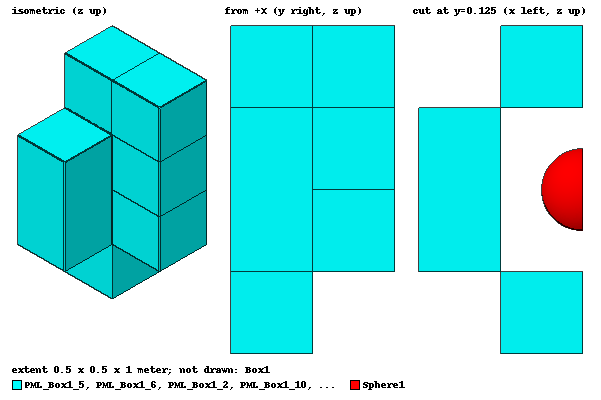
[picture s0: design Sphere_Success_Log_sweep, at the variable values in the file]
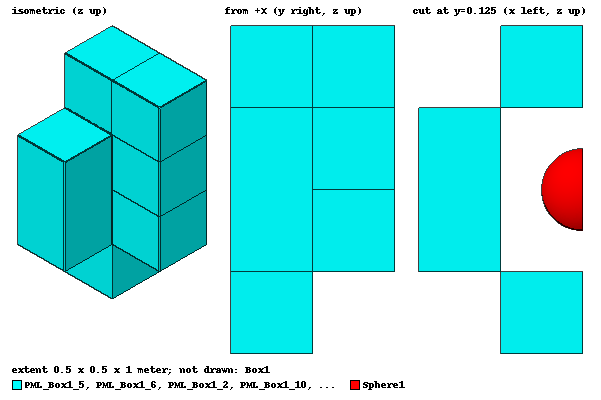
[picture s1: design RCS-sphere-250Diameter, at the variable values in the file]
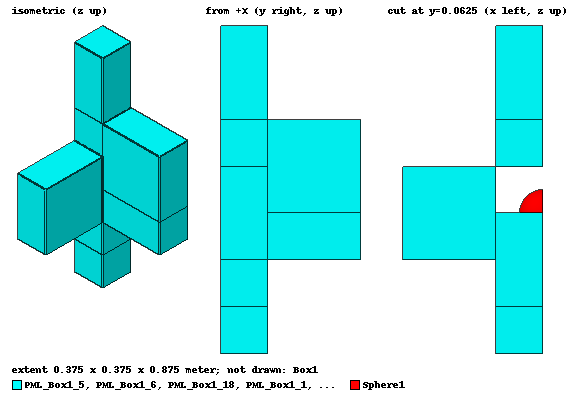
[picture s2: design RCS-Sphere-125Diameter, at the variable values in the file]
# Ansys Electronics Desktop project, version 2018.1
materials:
  vacuum: permittivity=1
  copper: permeability=0.999991 conductivity=58000000
  PMLGroup1_Z_1: permittivity{anisotropic component1=1.1 component2=1.1 component3=0.45454545} permeability{anisotropic component1=1.1 component2=1.1 component3=0.45454545} dielectric_loss_tangent{anisotropic component1=1 component2=1 component3=-1} magnetic_loss_tangent{anisotropic component1=1 component2=1 component3=-1}
  PMLGroup1_XZ_1: permittivity{anisotropic component1=1 component2=0.01 component3=1} permeability{anisotropic component1=1 component2=0.01 component3=1} dielectric_loss_tangent{anisotropic component1=0 component2=242 component3=0} magnetic_loss_tangent{anisotropic component1=0 component2=242 component3=0}
  PMLGroup1_YZ_1: permittivity{anisotropic component1=0.01 component2=1 component3=1} permeability{anisotropic component1=0.01 component2=1 component3=1} dielectric_loss_tangent{anisotropic component1=242 component2=0 component3=0} magnetic_loss_tangent{anisotropic component1=242 component2=0 component3=0}
  PMLGroup1_XYZ_1: permittivity{anisotropic component1=1.1 component2=1.1 component3=1.1} permeability{anisotropic component1=1.1 component2=1.1 component3=1.1} dielectric_loss_tangent{anisotropic component1=1 component2=1 component3=1} magnetic_loss_tangent{anisotropic component1=1 component2=1 component3=1}
  PMLGroup2_Z_1: permittivity{anisotropic component1=1.1 component2=1.1 component3=0.45454545} permeability{anisotropic component1=1.1 component2=1.1 component3=0.45454545} dielectric_loss_tangent{anisotropic component1=1 component2=1 component3=-1} magnetic_loss_tangent{anisotropic component1=1 component2=1 component3=-1}
  PMLGroup2_XZ_1: permittivity{anisotropic component1=1 component2=0.01 component3=1} permeability{anisotropic component1=1 component2=0.01 component3=1} dielectric_loss_tangent{anisotropic component1=0 component2=242 component3=0} magnetic_loss_tangent{anisotropic component1=0 component2=242 component3=0}
  PMLGroup2_YZ_1: permittivity{anisotropic component1=0.01 component2=1 component3=1} permeability{anisotropic component1=0.01 component2=1 component3=1} dielectric_loss_tangent{anisotropic component1=242 component2=0 component3=0} magnetic_loss_tangent{anisotropic component1=242 component2=0 component3=0}
  PMLGroup2_XYZ_1: permittivity{anisotropic component1=1.1 component2=1.1 component3=1.1} permeability{anisotropic component1=1.1 component2=1.1 component3=1.1} dielectric_loss_tangent{anisotropic component1=1 component2=1 component3=1} magnetic_loss_tangent{anisotropic component1=1 component2=1 component3=1}
  PMLGroup3_Z_1: permittivity{anisotropic component1=1.1 component2=1.1 component3=0.45454545} permeability{anisotropic component1=1.1 component2=1.1 component3=0.45454545} dielectric_loss_tangent{anisotropic component1=1 component2=1 component3=-1} magnetic_loss_tangent{anisotropic component1=1 component2=1 component3=-1}
  PMLGroup3_XZ_1: permittivity{anisotropic component1=1 component2=0.01 component3=1} permeability{anisotropic component1=1 component2=0.01 component3=1} dielectric_loss_tangent{anisotropic component1=0 component2=242 component3=0} magnetic_loss_tangent{anisotropic component1=0 component2=242 component3=0}
  PMLGroup3_YZ_1: permittivity{anisotropic component1=0.01 component2=1 component3=1} permeability{anisotropic component1=0.01 component2=1 component3=1} dielectric_loss_tangent{anisotropic component1=242 component2=0 component3=0} magnetic_loss_tangent{anisotropic component1=242 component2=0 component3=0}
  PMLGroup3_XYZ_1: permittivity{anisotropic component1=1.1 component2=1.1 component3=1.1} permeability{anisotropic component1=1.1 component2=1.1 component3=1.1} dielectric_loss_tangent{anisotropic component1=1 component2=1 component3=1} magnetic_loss_tangent{anisotropic component1=1 component2=1 component3=1}
  PMLGroup3_Z_2: permittivity{anisotropic component1=1.1 component2=1.1 component3=0.45454545} permeability{anisotropic component1=1.1 component2=1.1 component3=0.45454545} dielectric_loss_tangent{anisotropic component1=1 component2=1 component3=-1} magnetic_loss_tangent{anisotropic component1=1 component2=1 component3=-1}
  PMLGroup3_XZ_2: permittivity{anisotropic component1=1 component2=0.01 component3=1} permeability{anisotropic component1=1 component2=0.01 component3=1} dielectric_loss_tangent{anisotropic component1=0 component2=242 component3=0} magnetic_loss_tangent{anisotropic component1=0 component2=242 component3=0}
  PMLGroup3_YZ_2: permittivity{anisotropic component1=0.01 component2=1 component3=1} permeability{anisotropic component1=0.01 component2=1 component3=1} dielectric_loss_tangent{anisotropic component1=242 component2=0 component3=0} magnetic_loss_tangent{anisotropic component1=242 component2=0 component3=0}
  PMLGroup3_XYZ_2: permittivity{anisotropic component1=1.1 component2=1.1 component3=1.1} permeability{anisotropic component1=1.1 component2=1.1 component3=1.1} dielectric_loss_tangent{anisotropic component1=1 component2=1 component3=1} magnetic_loss_tangent{anisotropic component1=1 component2=1 component3=1}
  PMLGroup3_Z_3: permittivity{anisotropic component1=1.1 component2=1.1 component3=0.45454545} permeability{anisotropic component1=1.1 component2=1.1 component3=0.45454545} dielectric_loss_tangent{anisotropic component1=1 component2=1 component3=-1} magnetic_loss_tangent{anisotropic component1=1 component2=1 component3=-1}
  PMLGroup3_XZ_3: permittivity{anisotropic component1=1 component2=0.01 component3=1} permeability{anisotropic component1=1 component2=0.01 component3=1} dielectric_loss_tangent{anisotropic component1=0 component2=242 component3=0} magnetic_loss_tangent{anisotropic component1=0 component2=242 component3=0}
  PMLGroup3_YZ_3: permittivity{anisotropic component1=0.01 component2=1 component3=1} permeability{anisotropic component1=0.01 component2=1 component3=1} dielectric_loss_tangent{anisotropic component1=242 component2=0 component3=0} magnetic_loss_tangent{anisotropic component1=242 component2=0 component3=0}
  PMLGroup3_XYZ_3: permittivity{anisotropic component1=1.1 component2=1.1 component3=1.1} permeability{anisotropic component1=1.1 component2=1.1 component3=1.1} dielectric_loss_tangent{anisotropic component1=1 component2=1 component3=1} magnetic_loss_tangent{anisotropic component1=1 component2=1 component3=1}

design Sphere_Success_Log_sweep (HFSS, DrivenModal, model units meter)
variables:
  Rad = 0.125meter
  a = 0.125meter
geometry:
  Sphere1 [copper] = sphere(centre=(0meter, 0meter, 0meter), radius=a)
  Box1 [vacuum] = box(corner=(-2*a, -2*a, -2*a), size=(4*a, 4*a, 4*a))
  coordinate_system FaceCS1 = face of Box1: Origin=Box1.vertex(1 of 8) FaceID=Box1.face(+z) AxisPosn=Box1.vertex(2 of 8) WhichAxis=X
  PML_Box1_1 [PMLGroup3_Z_1, oriented by FaceCS1] = sweep_along_normal(Box1.face(+z), length=0.25meter)
  coordinate_system FaceCS2 = face of Box1: Origin=Box1.vertex(5 of 8) FaceID=Box1.face(-z) AxisPosn=Box1.vertex(6 of 8) WhichAxis=X
  PML_Box1_2 [PMLGroup3_Z_1, oriented by FaceCS2] = sweep_along_normal(Box1.face(-z), length=0.25meter)
  coordinate_system FaceCS3 = face of Box1: Origin=Box1.vertex(4 of 8) FaceID=Box1.face(-y) AxisPosn=Box1.vertex(7 of 8) WhichAxis=X
  coordinate_system FaceCS4 = face of Box1: Origin=Box1.vertex(3 of 8) FaceID=Box1.face(-x) AxisPosn=Box1.vertex(8 of 8) WhichAxis=X
  coordinate_system FaceCS5 = face of Box1: Origin=Box1.vertex(2 of 8) FaceID=Box1.face(+y) AxisPosn=Box1.vertex(5 of 8) WhichAxis=X
  PML_Box1_5 [PMLGroup3_Z_1, oriented by FaceCS5] = sweep_along_normal(Box1.face(+y), length=0.25meter)
  coordinate_system FaceCS6 = face of Box1: Origin=Box1.vertex(1 of 8) FaceID=Box1.face(+x) AxisPosn=Box1.vertex(6 of 8) WhichAxis=X
  PML_Box1_6 [PMLGroup3_Z_1, oriented by FaceCS6] = sweep_along_normal(Box1.face(+x), length=0.25meter)
  PML_Box1_9 [PMLGroup3_XZ_1, oriented by FaceCS5] = sweep_along_normal(PML_Box1_1.face(at (0, 0.25, 0.375)), length=0.25meter)
  PML_Box1_10 [PMLGroup3_YZ_1, oriented by FaceCS1] = sweep_along_normal(PML_Box1_1.face(at (0.25, 0, 0.375)), length=0.25meter)
  coordinate_system FaceCS7 = face of Box1: Origin=Box1.vertex(6 of 8) FaceID=Box1.face(-z) AxisPosn=Box1.vertex(7 of 8) WhichAxis=X
  coordinate_system FaceCS8 = face of Box1: Origin=Box1.vertex(7 of 8) FaceID=Box1.face(-z) AxisPosn=Box1.vertex(8 of 8) WhichAxis=X
  PML_Box1_13 [PMLGroup3_XZ_1, oriented by FaceCS2] = sweep_along_normal(PML_Box1_2.face(at (0, 0.25, -0.375)), length=0.25meter)
  PML_Box1_14 [PMLGroup3_YZ_1, oriented by FaceCS2] = sweep_along_normal(PML_Box1_2.face(at (0.25, 0, -0.375)), length=0.25meter)
  PML_Box1_18 [PMLGroup3_YZ_1, oriented by FaceCS5] = sweep_along_normal(PML_Box1_5.face(at (0.25, 0.375, 0)), length=0.25meter)
  PML_Box1_22 [PMLGroup3_XYZ_1, oriented by FaceCS5] = sweep_along_normal(PML_Box1_9.face(at (0.25, 0.375, 0.375)), length=0.25meter)
  coordinate_system FaceCS9 = face of Box1: Origin=Box1.vertex(8 of 8) FaceID=Box1.face(-z) AxisPosn=Box1.vertex(5 of 8) WhichAxis=X
  PML_Box1_26 [PMLGroup3_XYZ_1, oriented by FaceCS2] = sweep_along_normal(PML_Box1_13.face(at (0.25, 0.375, -0.375)), length=0.25meter)
  [Sphere1, PML_Box1_22, PML_Box1_26, PML_Box1_9, PML_Box1_13, PML_Box1_10, PML_Box1_14, PML_Box1_18, PML_Box1_1, PML_Box1_2, PML_Box1_5, PML_Box1_6, Box1].split(plane=YZ, keep=PositiveOnly)
  [Sphere1, PML_Box1_22, PML_Box1_26, PML_Box1_9, PML_Box1_13, PML_Box1_10, PML_Box1_14, PML_Box1_18, PML_Box1_1, PML_Box1_2, PML_Box1_5, PML_Box1_6, Box1].split(plane=ZX, keep=PositiveOnly)
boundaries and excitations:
  PML_radiation1: Radiation Faces=Box1.face(+z) IsForPML
  PML_radiation2: Radiation Faces=Box1.face(-z) IsForPML
  PML_radiation5: Radiation Faces=Box1.face(+y) IsForPML
  PML_radiation6: Radiation Faces=Box1.face(+x) IsForPML
  PML_radiation7: Radiation Faces=Box1.face(+z) IsForPML
  PML_radiation8: Radiation Faces=Box1.face(-z) IsForPML
  PML_radiation11: Radiation Faces=Box1.face(+y) IsForPML
  PML_radiation12: Radiation Faces=Box1.face(+x) IsForPML
  Sym1: Symmetry Faces=PML_Box1_1.face(at (0, 0, 0.375)) PML_Box1_9.face(at (0, 0.375, 0.375)) Box1.face(at (0, 0, 0)) PML_Box1_5.face(at (0, 0.375, 0)) PML_Box1_2.face(at (0, 0, -0.375)) PML_Box1_13.face(at (0, 0.375, -0.375)) IsPerfectE=true
  Sym2: Symmetry Faces=PML_Box1_10.face(at (0.375, 0, 0.375)) PML_Box1_6.face(at (0.375, 0, 0)) PML_Box1_1.face(at (0.125, 0, 0.375)) Box1.face(at (0.125, 0, 0)) PML_Box1_14.face(at (0.375, 0, -0.375)) PML_Box1_2.face(at (0.125, 0, -0.375)) IsPerfectE=false
  IncPWave1: Plane Incident Wave PhiStart=0deg PhiStop=0deg PhiPoints=1 ThetaStart=0deg ThetaStop=0deg ThetaPoints=1 EoPhi=0 EoTheta=1 OriginX=0mm OriginY=0mm OriginZ=0mm IsPropagating
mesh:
  initial mesh: GlobalCurvilinear{Apply}
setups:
  Setup1: HfssDriven Frequency=5GHz MaxDeltaE=0.01 MaximumPasses=20 MinimumPasses=1 MinimumConvergedPasses=1 PercentRefinement=30 BasisOrder=2
    sweep 2to4GHz: 2GHz to 4GHz, log, 100 per decade; disabled Type=Discrete SaveFields SaveRadFields
    sweep 4to8GHz: 4GHz to 8GHz, log, 200 per decade; disabled Type=Discrete SaveFields SaveRadFields
    sweep 8to10GHz: 8GHz to 10GHz, log, 100 per decade; Type=Discrete SaveFields SaveRadFields
    sweep 10to12GHz: 10GHz to 12GHz, log, 200 per decade; Type=Discrete SaveFields SaveRadFields
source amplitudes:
  IncPWave1:1: 1 0deg
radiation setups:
  Infinite Sphere1: Infinite Sphere Theta=0deg..0deg step 2deg Phi=0deg..0deg step 0deg
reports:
  Bistatic RCS Plot 1: abs(RCSTotal) vs Freq on Setup1 : 2to4GHz, Infinite Sphere1 [Phi=all Theta=all IWavePhi=0deg IWaveTheta=0deg]
  Bistatic RCS Plot 2: abs(RCSTotal) vs Freq on Setup1 : 4to8GHz, Infinite Sphere1 [Phi=all Theta=all IWavePhi=0deg IWaveTheta=0deg]; abs(RCSTotal) vs Freq on Setup1 : 10to12GHz, Infinite Sphere1 [Phi=all Theta=all IWavePhi=0deg IWaveTheta=0deg]; abs(RCSTotal) vs Freq on Setup1 : 8to10GHz, Infinite Sphere1 [Phi=all Theta=all IWavePhi=0deg IWaveTheta=0deg]; abs(RCSTotal) vs Freq on Setup1 : 2to4GHz, Infinite Sphere1 [Phi=all Theta=all IWavePhi=0deg IWaveTheta=0deg]

design RCS-sphere-250Diameter (HFSS, DrivenModal, model units meter)
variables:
  Rad = 0.125meter
  a = 0.125meter
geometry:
  Sphere1 [copper] = sphere(centre=(0meter, 0meter, 0meter), radius=a)
  Box1 [vacuum] = box(corner=(-2*a, -2*a, -2*a), size=(4*a, 4*a, 4*a))
  coordinate_system FaceCS1 = face of Box1: Origin=Box1.vertex(1 of 8) FaceID=Box1.face(+z) AxisPosn=Box1.vertex(2 of 8) WhichAxis=X
  PML_Box1_1 [PMLGroup3_Z_2, oriented by FaceCS1] = sweep_along_normal(Box1.face(+z), length=0.25meter)
  coordinate_system FaceCS2 = face of Box1: Origin=Box1.vertex(5 of 8) FaceID=Box1.face(-z) AxisPosn=Box1.vertex(6 of 8) WhichAxis=X
  PML_Box1_2 [PMLGroup3_Z_2, oriented by FaceCS2] = sweep_along_normal(Box1.face(-z), length=0.25meter)
  coordinate_system FaceCS3 = face of Box1: Origin=Box1.vertex(4 of 8) FaceID=Box1.face(-y) AxisPosn=Box1.vertex(7 of 8) WhichAxis=X
  coordinate_system FaceCS4 = face of Box1: Origin=Box1.vertex(3 of 8) FaceID=Box1.face(-x) AxisPosn=Box1.vertex(8 of 8) WhichAxis=X
  coordinate_system FaceCS5 = face of Box1: Origin=Box1.vertex(2 of 8) FaceID=Box1.face(+y) AxisPosn=Box1.vertex(5 of 8) WhichAxis=X
  PML_Box1_5 [PMLGroup3_Z_2, oriented by FaceCS5] = sweep_along_normal(Box1.face(+y), length=0.25meter)
  coordinate_system FaceCS6 = face of Box1: Origin=Box1.vertex(1 of 8) FaceID=Box1.face(+x) AxisPosn=Box1.vertex(6 of 8) WhichAxis=X
  PML_Box1_6 [PMLGroup3_Z_2, oriented by FaceCS6] = sweep_along_normal(Box1.face(+x), length=0.25meter)
  PML_Box1_9 [PMLGroup3_XZ_2, oriented by FaceCS5] = sweep_along_normal(PML_Box1_1.face(at (0, 0.25, 0.375)), length=0.25meter)
  PML_Box1_10 [PMLGroup3_YZ_2, oriented by FaceCS1] = sweep_along_normal(PML_Box1_1.face(at (0.25, 0, 0.375)), length=0.25meter)
  coordinate_system FaceCS7 = face of Box1: Origin=Box1.vertex(6 of 8) FaceID=Box1.face(-z) AxisPosn=Box1.vertex(7 of 8) WhichAxis=X
  coordinate_system FaceCS8 = face of Box1: Origin=Box1.vertex(7 of 8) FaceID=Box1.face(-z) AxisPosn=Box1.vertex(8 of 8) WhichAxis=X
  PML_Box1_13 [PMLGroup3_XZ_2, oriented by FaceCS2] = sweep_along_normal(PML_Box1_2.face(at (0, 0.25, -0.375)), length=0.25meter)
  PML_Box1_14 [PMLGroup3_YZ_2, oriented by FaceCS2] = sweep_along_normal(PML_Box1_2.face(at (0.25, 0, -0.375)), length=0.25meter)
  PML_Box1_18 [PMLGroup3_YZ_2, oriented by FaceCS5] = sweep_along_normal(PML_Box1_5.face(at (0.25, 0.375, 0)), length=0.25meter)
  PML_Box1_22 [PMLGroup3_XYZ_2, oriented by FaceCS5] = sweep_along_normal(PML_Box1_9.face(at (0.25, 0.375, 0.375)), length=0.25meter)
  coordinate_system FaceCS9 = face of Box1: Origin=Box1.vertex(8 of 8) FaceID=Box1.face(-z) AxisPosn=Box1.vertex(5 of 8) WhichAxis=X
  PML_Box1_26 [PMLGroup3_XYZ_2, oriented by FaceCS2] = sweep_along_normal(PML_Box1_13.face(at (0.25, 0.375, -0.375)), length=0.25meter)
  [Sphere1, PML_Box1_22, PML_Box1_26, PML_Box1_9, PML_Box1_13, PML_Box1_10, PML_Box1_14, PML_Box1_18, PML_Box1_1, PML_Box1_2, PML_Box1_5, PML_Box1_6, Box1].split(plane=YZ, keep=PositiveOnly)
  [Sphere1, PML_Box1_22, PML_Box1_26, PML_Box1_9, PML_Box1_13, PML_Box1_10, PML_Box1_14, PML_Box1_18, PML_Box1_1, PML_Box1_2, PML_Box1_5, PML_Box1_6, Box1].split(plane=ZX, keep=PositiveOnly)
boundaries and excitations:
  PML_radiation1: Radiation Faces=Box1.face(+z) IsForPML
  PML_radiation2: Radiation Faces=Box1.face(-z) IsForPML
  PML_radiation5: Radiation Faces=Box1.face(+y) IsForPML
  PML_radiation6: Radiation Faces=Box1.face(+x) IsForPML
  PML_radiation7: Radiation Faces=Box1.face(+z) IsForPML
  PML_radiation8: Radiation Faces=Box1.face(-z) IsForPML
  PML_radiation11: Radiation Faces=Box1.face(+y) IsForPML
  PML_radiation12: Radiation Faces=Box1.face(+x) IsForPML
  Sym1: Symmetry Faces=PML_Box1_1.face(at (0, 0, 0.375)) PML_Box1_9.face(at (0, 0.375, 0.375)) Box1.face(at (0, 0, 0)) PML_Box1_5.face(at (0, 0.375, 0)) PML_Box1_2.face(at (0, 0, -0.375)) PML_Box1_13.face(at (0, 0.375, -0.375)) IsPerfectE=true
  Sym2: Symmetry Faces=PML_Box1_10.face(at (0.375, 0, 0.375)) PML_Box1_6.face(at (0.375, 0, 0)) PML_Box1_1.face(at (0.125, 0, 0.375)) Box1.face(at (0.125, 0, 0)) PML_Box1_14.face(at (0.375, 0, -0.375)) PML_Box1_2.face(at (0.125, 0, -0.375)) IsPerfectE=false
  IncPWave1: Plane Incident Wave PhiStart=0deg PhiStop=0deg PhiPoints=1 ThetaStart=0deg ThetaStop=0deg ThetaPoints=1 EoPhi=0 EoTheta=1 OriginX=0mm OriginY=0mm OriginZ=0mm IsPropagating
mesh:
  initial mesh: GlobalCurvilinear{Apply}
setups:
  Setup1: HfssDriven Frequency=5GHz MaxDeltaE=0.01 MaximumPasses=20 MinimumPasses=1 MinimumConvergedPasses=1 PercentRefinement=30 BasisOrder=2
    sweep 2to12GHz: 2GHz to 12GHz step 0.05GHz; disabled Type=Discrete SaveFields SaveRadFields
    sweep 2to18GHz: 2GHz to 18GHz step 0.01GHz; disabled Type=Discrete SaveFields SaveRadFields
    sweep 18to40GHz: 18GHz to 40GHz step 0.01GHz; Type=Discrete SaveFields SaveRadFields
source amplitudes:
  IncPWave1:1: 1 0deg
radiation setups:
  Infinite Sphere1: Infinite Sphere Theta=0deg..0deg step 2deg Phi=0deg..0deg step 0deg
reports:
  RCS Plot 250mm Diameter: RCSTotal vs Freq on Setup1 : 2to18GHz, Infinite Sphere1 [Phi=all Theta=all IWavePhi=0deg IWaveTheta=0deg]

design RCS-Sphere-125Diameter (HFSS, DrivenModal, model units meter)
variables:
  Rad = (0.125/2) meter
  a = (0.125/2) meter
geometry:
  Sphere1 [copper] = sphere(centre=(0meter, 0meter, 0meter), radius=a)
  Box1 [vacuum] = box(corner=(-2*a, -2*a, -2*a), size=(4*a, 4*a, 4*a))
  coordinate_system FaceCS1 = face of Box1: Origin=Box1.vertex(1 of 8) FaceID=Box1.face(+z) AxisPosn=Box1.vertex(2 of 8) WhichAxis=X
  PML_Box1_1 [PMLGroup3_Z_3, oriented by FaceCS1] = sweep_along_normal(Box1.face(+z), length=0.25meter)
  coordinate_system FaceCS2 = face of Box1: Origin=Box1.vertex(5 of 8) FaceID=Box1.face(-z) AxisPosn=Box1.vertex(6 of 8) WhichAxis=X
  PML_Box1_2 [PMLGroup3_Z_3, oriented by FaceCS2] = sweep_along_normal(Box1.face(-z), length=0.25meter)
  coordinate_system FaceCS3 = face of Box1: Origin=Box1.vertex(4 of 8) FaceID=Box1.face(-y) AxisPosn=Box1.vertex(7 of 8) WhichAxis=X
  coordinate_system FaceCS4 = face of Box1: Origin=Box1.vertex(3 of 8) FaceID=Box1.face(-x) AxisPosn=Box1.vertex(8 of 8) WhichAxis=X
  coordinate_system FaceCS5 = face of Box1: Origin=Box1.vertex(2 of 8) FaceID=Box1.face(+y) AxisPosn=Box1.vertex(5 of 8) WhichAxis=X
  PML_Box1_5 [PMLGroup3_Z_3, oriented by FaceCS5] = sweep_along_normal(Box1.face(+y), length=0.25meter)
  coordinate_system FaceCS6 = face of Box1: Origin=Box1.vertex(1 of 8) FaceID=Box1.face(+x) AxisPosn=Box1.vertex(6 of 8) WhichAxis=X
  PML_Box1_6 [PMLGroup3_Z_3, oriented by FaceCS6] = sweep_along_normal(Box1.face(+x), length=0.25meter)
  PML_Box1_9 [PMLGroup3_XZ_3, oriented by FaceCS5] = sweep_along_normal(PML_Box1_1.face(at (0, 0.125, 0.25)), length=0.25meter)
  PML_Box1_10 [PMLGroup3_YZ_3, oriented by FaceCS1] = sweep_along_normal(PML_Box1_1.face(at (0.125, 0, 0.25)), length=0.25meter)
  coordinate_system FaceCS7 = face of Box1: Origin=Box1.vertex(6 of 8) FaceID=Box1.face(-z) AxisPosn=Box1.vertex(7 of 8) WhichAxis=X
  coordinate_system FaceCS8 = face of Box1: Origin=Box1.vertex(7 of 8) FaceID=Box1.face(-z) AxisPosn=Box1.vertex(8 of 8) WhichAxis=X
  PML_Box1_13 [PMLGroup3_XZ_3, oriented by FaceCS2] = sweep_along_normal(PML_Box1_2.face(at (0, 0.125, -0.25)), length=0.25meter)
  PML_Box1_14 [PMLGroup3_YZ_3, oriented by FaceCS2] = sweep_along_normal(PML_Box1_2.face(at (0.125, 0, -0.25)), length=0.25meter)
  PML_Box1_18 [PMLGroup3_YZ_3, oriented by FaceCS5] = sweep_along_normal(PML_Box1_5.face(at (0.125, 0.25, 0)), length=0.25meter)
  PML_Box1_22 [PMLGroup3_XYZ_3, oriented by FaceCS5] = sweep_along_normal(PML_Box1_9.face(at (0.125, 0.25, 0.25)), length=0.25meter)
  coordinate_system FaceCS9 = face of Box1: Origin=Box1.vertex(8 of 8) FaceID=Box1.face(-z) AxisPosn=Box1.vertex(5 of 8) WhichAxis=X
  PML_Box1_26 [PMLGroup3_XYZ_3, oriented by FaceCS2] = sweep_along_normal(PML_Box1_13.face(at (0.125, 0.25, -0.25)), length=0.25meter)
  [Sphere1, PML_Box1_22, PML_Box1_26, PML_Box1_9, PML_Box1_13, PML_Box1_10, PML_Box1_14, PML_Box1_18, PML_Box1_1, PML_Box1_2, PML_Box1_5, PML_Box1_6, Box1].split(plane=YZ, keep=PositiveOnly)
  [Sphere1, PML_Box1_22, PML_Box1_26, PML_Box1_9, PML_Box1_13, PML_Box1_10, PML_Box1_14, PML_Box1_18, PML_Box1_1, PML_Box1_2, PML_Box1_5, PML_Box1_6, Box1].split(plane=ZX, keep=PositiveOnly)
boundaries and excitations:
  PML_radiation1: Radiation Faces=Box1.face(+z) IsForPML
  PML_radiation2: Radiation Faces=Box1.face(-z) IsForPML
  PML_radiation5: Radiation Faces=Box1.face(+y) IsForPML
  PML_radiation6: Radiation Faces=Box1.face(+x) IsForPML
  PML_radiation7: Radiation Faces=Box1.face(+z) IsForPML
  PML_radiation8: Radiation Faces=Box1.face(-z) IsForPML
  PML_radiation11: Radiation Faces=Box1.face(+y) IsForPML
  PML_radiation12: Radiation Faces=Box1.face(+x) IsForPML
  Sym1: Symmetry Faces=PML_Box1_1.face(at (0, 0, 0.25)) PML_Box1_9.face(at (0, 0.25, 0.25)) Box1.face(at (0, 0, 0)) PML_Box1_5.face(at (0, 0.25, 0)) PML_Box1_2.face(at (0, 0, -0.25)) PML_Box1_13.face(at (0, 0.25, -0.25)) IsPerfectE=true
  Sym2: Symmetry Faces=PML_Box1_10.face(at (0.25, 0, 0.25)) PML_Box1_6.face(at (0.25, 0, 0)) PML_Box1_1.face(at (0.0625, 0, 0.25)) Box1.face(at (0.0625, 0, 0)) PML_Box1_14.face(at (0.25, 0, -0.25)) PML_Box1_2.face(at (0.0625, 0, -0.25)) IsPerfectE=false
  IncPWave1: Plane Incident Wave PhiStart=0deg PhiStop=0deg PhiPoints=1 ThetaStart=0deg ThetaStop=0deg ThetaPoints=1 EoPhi=0 EoTheta=1 OriginX=0mm OriginY=0mm OriginZ=0mm IsPropagating
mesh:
  initial mesh: GlobalCurvilinear{Apply}
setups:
  Setup1: HfssDriven Frequency=5GHz MaxDeltaE=0.01 MaximumPasses=20 MinimumPasses=1 MinimumConvergedPasses=1 PercentRefinement=30 BasisOrder=2
    sweep 2to8GHz: 2GHz to 8GHz step 0.01GHz; Type=Discrete SaveFields SaveRadFields
    sweep 8to16GHz: 8GHz to 16GHz step 0.01GHz; Type=Discrete SaveFields SaveRadFields
    sweep 16to24GHz: 16GHz to 24GHz step 0.01GHz; Type=Discrete SaveFields SaveRadFields
    sweep 24to32GHz: 24GHz to 32GHz step 0.01GHz; Type=Discrete SaveFields SaveRadFields
    sweep 32to40GHz: 32GHz to 40GHz step 0.01GHz; Type=Discrete SaveFields SaveRadFields
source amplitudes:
  IncPWave1:1: 1 0deg
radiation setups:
  Infinite Sphere1: Infinite Sphere Theta=0deg..0deg step 2deg Phi=0deg..0deg step 0deg
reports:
  RCS Plot 125mm Diameter: RCSTotal vs Freq on Setup1 : 16to24GHz, Infinite Sphere1 [Phi=all Theta=all IWavePhi=0deg IWaveTheta=0deg]; RCSTotal vs Freq on Setup1 : 24to32GHz, Infinite Sphere1 [Phi=all Theta=all IWavePhi=0deg IWaveTheta=0deg]; RCSTotal vs Freq on Setup1 : 32to40GHz, Infinite Sphere1 [Phi=all Theta=all IWavePhi=0deg IWaveTheta=0deg]
  Bistatic RCS Plot 1: abs(RCSTotal) vs Theta on Setup1 : 32to40GHz, Infinite Sphere1 [Phi=all Freq=32GHz IWavePhi=0deg IWaveTheta=0deg]
  Bistatic RCS Plot 2: abs(RCSTotal) vs Freq on Setup1 : 32to40GHz, Infinite Sphere1 [Phi=all Theta=all IWavePhi=0deg IWaveTheta=0deg]
  Bistatic RCS Plot 3: RCSTotal vs Freq on Setup1 : 32to40GHz, Infinite Sphere1 [Phi=all Theta=all IWavePhi=0deg IWaveTheta=0deg]
